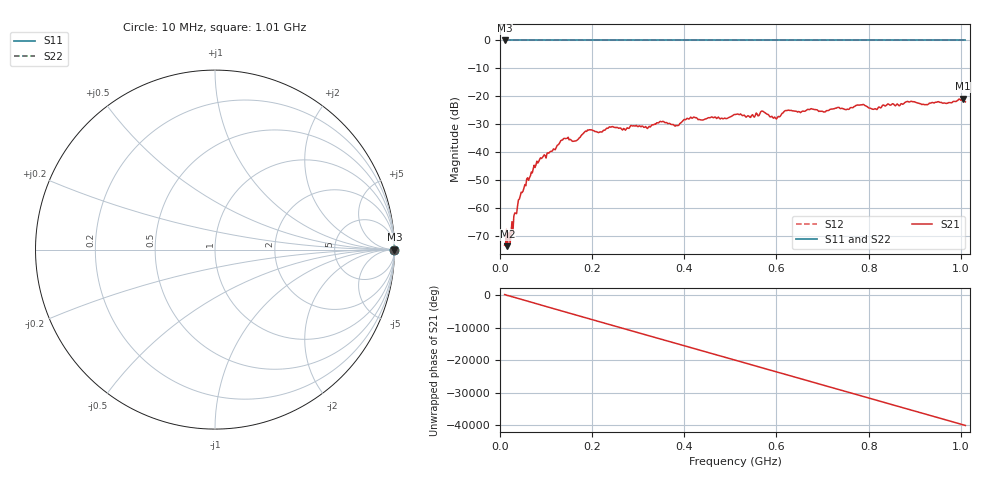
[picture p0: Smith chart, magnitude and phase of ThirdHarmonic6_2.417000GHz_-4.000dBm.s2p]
! 8/17/2025 4:05:36 AM
! C:\ANRITSUVNA\TEMP\TEMP.S2P
! CHANNEL.1
! TR.MEASUREMENT
! RAW.DATA
! RF.CORRECTION.OFF
! AVERAGING.OFF
! IF.BANDWIDTH: 5KHZ
! SWEEPTYPE:  FREQ.SWEEP(Linear)
! Reference Plane Port Info
! PORT:  PORT1  PORT2
! DISTANCE:  0  m  0  m
! TIME:  0  s  0  s
! PHASE.OFFSET:  0  deg.  0  deg.
! LOSS:  0  dB  0  dB
! REF.LOSS:  0  dB  0  dB
! REF.FREQ:  0  Hz  0  Hz
! Power Info
! POWER:  -20  dBm  -20  dBm
! EFF.POWER:  -20  dBm  -20  dBm
! SOURCE.ATTEN:  0  dB  0  dB
! TEST.ATTEN:  0  dB  0  dB
# GHZ S RI R 50.0
! FREQ.GHZ  S11RE  S11IM  S21RE  S21IM  S12RE  S12IM  S22RE  S22IM
!; PortSelection: Port_12
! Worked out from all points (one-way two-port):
!   501 points, 10 MHz to 1.01 GHz, reference 50 ohm
!   highest |S21| = -20.83 dB at 1.004 GHz (marker M1); lowest = -73.7 dB at 16 MHz (marker M2)
!   lowest |S11| = 0.0 dB at 10 MHz (marker M3)
!   |S11| at or under -10 dB: nowhere
!   |S22| runs from 0.0 to 0.0 dB; largest |S21 - S12| = 1.1
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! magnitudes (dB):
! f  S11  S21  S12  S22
! 10 MHz  0.0  -73.3  0.0  0.0
! 16 MHz  0.0  -73.7  0.0  0.0
! 24 MHz  0.0  -68.8  0.0  0.0
! 44 MHz  0.0  -55.7  0.0  0.0
! 76 MHz  0.0  -45.5  0.0  0.0
! 136 MHz  0.0  -35.6  0.0  0.0
! 162 MHz  0.0  -36.1  0.0  0.0
! 178 MHz  0.0  -33.8  0.0  0.0
! 194 MHz  0.0  -32.0  0.0  0.0
! 344 MHz  0.0  -29.6  0.0  0.0
! 384 MHz  0.0  -30.5  0.0  0.0
! 416 MHz  0.0  -27.8  0.0  0.0
! 510 MHz  0.0  -26.5  0.0  0.0
! 570 MHz  0.0  -25.3  0.0  0.0
! 598 MHz  0.0  -27.8  0.0  0.0
! 622 MHz  0.0  -25.1  0.0  0.0
! 678 MHz  0.0  -24.6  0.0  0.0
! 786 MHz  0.0  -23.1  0.0  0.0
! 814 MHz  0.0  -24.4  0.0  0.0
! 844 MHz  0.0  -22.9  0.0  0.0
! 1.004 GHz  0.0  -20.8  0.0  0.0
! 1.01 GHz  0.0  -22.0  0.0  0.0
